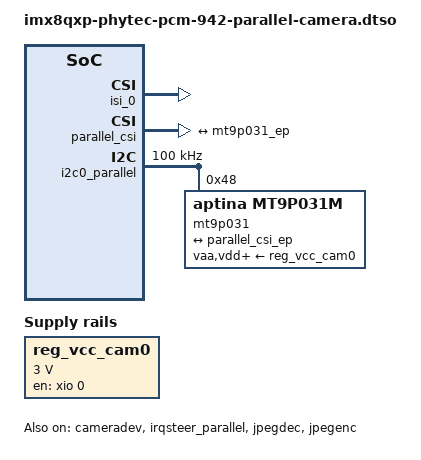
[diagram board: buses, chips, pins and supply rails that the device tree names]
// SPDX-License-Identifier: GPL-2.0+
/*
 * Copyright (C) 2019-2021 PHYTEC America, LLC
 *
 * Enable parallel camera on PCM-942
 */

/dts-v1/;
/plugin/;

#include <dt-bindings/gpio/gpio.h>
#include <dt-bindings/pinctrl/pads-imx8qxp.h>
#include <dt-bindings/clock/imx8-clock.h>

&{/} {
	compatible = "phytec,imx8qxp-pcm-942", "phytec,imx8qxp-phycore-som", "fsl,imx8qxp";

	reg_vcc_cam0: vcc_cam0 {
		compatible = "regulator-fixed";
		regulator-name = "vcc_cam0";
		regulator-min-microvolt = <3000000>;
		regulator-max-microvolt = <3000000>;
		gpio = <&xio 0 GPIO_ACTIVE_HIGH>;
		enable-active-high;
	};
};

&isi_0 {
	interface = <6 0 2>;	/* INPUT:  6=ISI_INPUT_INTERFACE_PARALLEL_CSI
							* OUTPUT: 2=ISI_OUTPUT_INTERFACE_MEM */
	parallel_csi;
	status = "okay";

	cap_device {
		status = "okay";
	};
};

&cameradev {
			parallel_csi;
			status = "okay";
};

&parallel_csi {
	#address-cells = <1>;
	#size-cells = <0>;
	status = "okay";
	input-type = <2>;	/* actaully Bayer, but need to indicate RGB8 */
	port@0 {
		reg = <0>;
		parallel_csi_ep: endpoint {
			remote-endpoint = <&mt9p031_ep>;
		};
	};
};

&i2c0_parallel {
	clock-frequency = <100000>;
	#address-cells = <1>;
	#size-cells = <0>;
	pinctrl-names = "default";
	pinctrl-0 = <&pinctrl_cam0_i2c>;
	status = "okay";

	/* The sensor address depends on jumper settings */
	mt9p031: mt9p031@48 {
		compatible = "aptina,mt9p031m";
		reg = <0x48>;
		pinctrl-names = "default";
		pinctrl-0 = <&pinctrl_parallel_csi>;
		clocks = <&pi0_misc_lpcg 0>;
		clock-names = "xclk";
		vaa-supply = <&reg_vcc_cam0>;
		vdd-supply = <&reg_vcc_cam0>;
		vdd_io-supply = <&reg_vcc_cam0>;
		status = "okay";
		port {
			mt9p031_ep: endpoint {
				input-clock-frequency = <24000000>;
				/* pixel-clock-frequency = <24000000>; */
				pixel-clock-frequency = <96000000>;
				remote-endpoint = <&parallel_csi_ep>;
				bus-type = <5>; /* V4L2_FWNODE_BUS_TYPE_PARALLEL */
				bus-width = <8>;
				pclk-sample = <1>;
			};
		};
	};

	/*
	* The EEPROM address depends on jumper settings, and may not be
	* populated on the camera
	*/
	cam_i2c_eeprom: eeprom@50 {
		compatible = "atmel,24c02";
		pagesize = <16>;
		reg = <0x50>;
		status = "disabled";
	};
};

&iomuxc {
	pcm942 {
		pinctrl_cam0_i2c: cam0_i2c_grp {
			fsl,pins = <
				IMX8QXP_CSI_RESET_CI_PI_I2C_SDA    0x06000020
				IMX8QXP_CSI_EN_CI_PI_I2C_SCL	   0x06000020
			>;
		};

		pinctrl_parallel_csi: parallelcsigrp {
			fsl,pins = <
				IMX8QXP_CSI_D00_CI_PI_D02	   0xC0000041
				IMX8QXP_CSI_D01_CI_PI_D03	   0xC0000041
				IMX8QXP_CSI_D02_CI_PI_D04	   0xC0000041
				IMX8QXP_CSI_D03_CI_PI_D05	   0xC0000041
				IMX8QXP_CSI_D04_CI_PI_D06	   0xC0000041
				IMX8QXP_CSI_D05_CI_PI_D07	   0xC0000041
				IMX8QXP_CSI_D06_CI_PI_D08	   0xC0000041
				IMX8QXP_CSI_D07_CI_PI_D09	   0xC0000041

				IMX8QXP_CSI_MCLK_CI_PI_MCLK	   0xC0000041
				IMX8QXP_CSI_PCLK_CI_PI_PCLK	   0xC0000041
				IMX8QXP_CSI_HSYNC_CI_PI_HSYNC	   0xC0000041
				IMX8QXP_CSI_VSYNC_CI_PI_VSYNC	   0xC0000041
			>;
		};
	};
};

&irqsteer_parallel {
	status = "okay";
};

&jpegdec {
	status = "okay";
};

&jpegenc {
	status = "okay";
};
